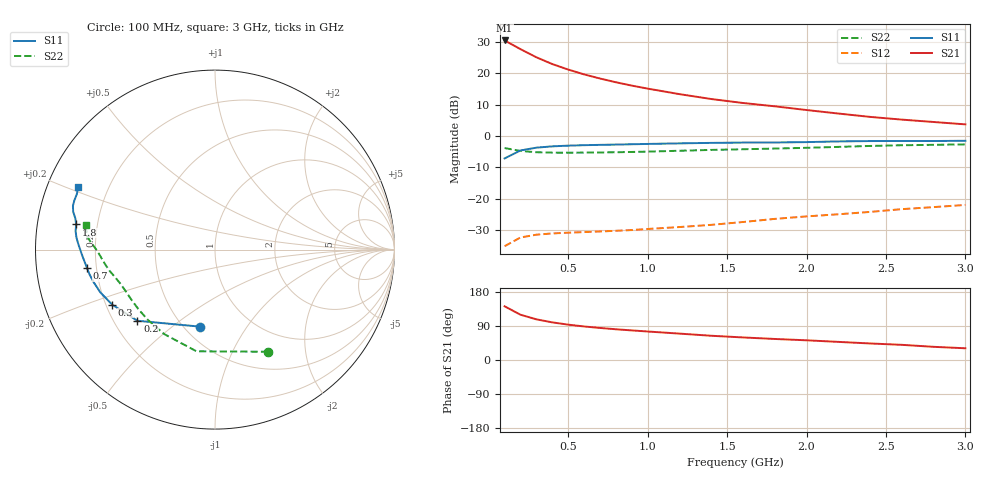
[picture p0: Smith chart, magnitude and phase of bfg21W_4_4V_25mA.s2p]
! Filename: 4_425bfg21.001
! Title: BFG21W
! Bias: Vce=4.4V; Ic=25mA
! Company: Philips Semiconductors NL
! User: Quality&Reliability T&D
! Measure time: 10 Nov 1999 / 11:46:23
#  MHz  S  MA  R 50
! Freq  S11  S21  S12  S22  :
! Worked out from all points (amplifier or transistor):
!   20 points, 100 MHz to 3 GHz, reference 50 ohm
!   highest |S21| = 30.5 dB at 100 MHz (marker M1)
!   |S21| within 3 dB of that: start of sweep to 208.6 MHz
!   unconditionally stable (mu >= 1): 1.101 GHz to end of sweep
!   at 400 MHz: K = 0.50, MSG = 27.0 dB, |S12| = -31.1 dB
!   at 1.2 GHz: K = 1.04, MAG = 19.9 dB, |S12| = -29.1 dB
!   at 3 GHz: K = 1.04, MAG = 11.6 dB, |S12| = -22.0 dB
!   S11 on the Smith chart (normalised r, x): 100 MHz: 0.59, -0.63; 200 MHz: 0.30, -0.36; 300 MHz: 0.22, -0.24; 700 MHz: 0.16, -0.07; 1.8 GHz: 0.12, +0.09; 3 GHz: 0.09, +0.22
100  0.4374 -101.1  33.34 141.7  0.01744 42.6  0.6414 -62.5
200  0.5867 -137.5  24.22 119.5  0.02401 34.0  0.5759 -100.3
300  0.65 -151.9  17.96 107.3  0.02659 30.0  0.5493 -121.2
400  0.6818 -159.5  14.02 99.3  0.02786 29.2  0.5416 -133.7
500  0.6998 -164.9  11.45 93.3  0.02863 29.7  0.5405 -141.8
600  0.7122 -168.7  9.595 88.5  0.02928 31.3  0.5422 -147.5
700  0.7202 -171.7  8.241 84.6  0.02992 33.5  0.5451 -151.7
800  0.7279 -174.2  7.187 81.1  0.03068 36.1  0.5491 -155.2
900  0.7367 -176.5  6.351 78.1  0.03154 39.2  0.555 -158.1
1000  0.7452 -178.6  5.689 75.2  0.03279 42.0  0.5623 -160.8
1200  0.7611 177.9  4.644 69.6  0.03519 47.3  0.5802 -165.1
1400  0.7746 175.1  3.881 64.0  0.03814 52.0  0.5984 -168.5
1600  0.7834 172.5  3.354 59.5  0.04236 56.4  0.6132 -171.5
1800  0.7864 169.7  2.97 55.5  0.04748 60.1  0.6285 -174.6
2000  0.7971 167.4  2.59 52.0  0.05206 63.4  0.6465 -177.9
2200  0.8176 165.1  2.277 47.8  0.05628 65.3  0.6685 179.2
2400  0.8283 162.9  2.013 43.6  0.0614 66.4  0.6921 176.8
2600  0.8302 160.7  1.821 40.0  0.06794 67.0  0.71 174.7
2800  0.8296 158.2  1.668 34.8  0.07324 66.4  0.7215 172.3
3000  0.8369 155.5  1.53 30.9  0.07934 66.4  0.7338 169.4
